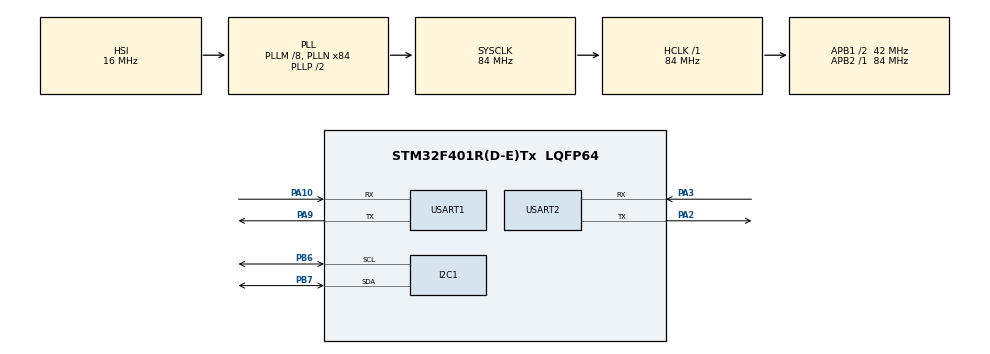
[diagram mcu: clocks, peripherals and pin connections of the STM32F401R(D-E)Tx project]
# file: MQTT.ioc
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Mcu.Family=STM32F4
Mcu.Name=STM32F401R(D-E)Tx
Mcu.Package=LQFP64
NVIC.PriorityGroup=NVIC_PRIORITYGROUP_4
NVIC.USART1_IRQn=true\:0\:0\:false\:false\:true\:true\:true\:true
NVIC.USART2_IRQn=true\:0\:0\:false\:false\:true\:true\:true\:true
PA10.Mode=Asynchronous
PA10.Signal=USART1_RX
PA13.Mode=Serial_Wire
PA13.Signal=SYS_JTMS-SWDIO
PA14.Mode=Serial_Wire
PA14.Signal=SYS_JTCK-SWCLK
PA2.Mode=Asynchronous
PA2.Signal=USART2_TX
PA3.Mode=Asynchronous
PA3.Signal=USART2_RX
PA9.Mode=Asynchronous
PA9.Signal=USART1_TX
PB6.Mode=I2C
PB6.Signal=I2C1_SCL
PB7.Mode=I2C
PB7.Signal=I2C1_SDA
ProjectManager.HeapSize=0x200
ProjectManager.StackSize=0x400
ProjectManager.TargetToolchain=MDK-ARM V5.32
RCC.48MHZClocksFreq_Value=42000000
RCC.AHBFreq_Value=84000000
RCC.APB1CLKDivider=RCC_HCLK_DIV2
RCC.APB1Freq_Value=42000000
RCC.APB1TimFreq_Value=84000000
RCC.APB2Freq_Value=84000000
RCC.APB2TimFreq_Value=84000000
RCC.CortexFreq_Value=84000000
RCC.HCLKFreq_Value=84000000
RCC.HSE_VALUE=8000000
RCC.HSI_VALUE=16000000
RCC.LSE_VALUE=32768
RCC.PLLM=8
RCC.PLLN=84
RCC.SYSCLKFreq_VALUE=84000000
RCC.SYSCLKSource=RCC_SYSCLKSOURCE_PLLCLK
RCC.VCOOutputFreq_Value=168000000
USART1.VirtualMode=VM_ASYNC
USART2.VirtualMode=VM_ASYNC
board=custom

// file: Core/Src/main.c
/* USER CODE BEGIN Header */
/**
  ******************************************************************************
  * @file           : main.c
  * @brief          : Main program body
  ******************************************************************************
  * @attention
  *
  * Copyright (c) 2026 STMicroelectronics.
  * All rights reserved.
  *
  * This software is licensed under terms that can be found in the LICENSE file
  * in the root directory of this software component.
  * If no LICENSE file comes with this software, it is provided AS-IS.
  *
  ******************************************************************************
  */
/* USER CODE END Header */
#include "main.h"

/* USER CODE BEGIN Includes */
#include "bme280.h"
#include "ESPLib.h"
#include <string.h>
#include <stdio.h>
#include <stdint.h>
/* USER CODE END Includes */

/* USER CODE BEGIN PD */

/* 1 = full project (sensor + ESP8266 + MQTT)
 * 0 = BME280 sensor test only (ESP8266 not needed, nothing is sent)      */
#define ENABLE_ESP        1

/* Enter YOUR OWN Wi-Fi details here (2.4 GHz network only).
 * Remove them before sharing this file with anyone.                      */
#define WIFI_SSID         "SNUC"
#define WIFI_PASSWORD     "snu12345"

#define MQTT_BROKER_HOST  "broker.emqx.io"
#define MQTT_BROKER_PORT  "1883"

/* The public broker is shared: keep the client ID unique.
 * Your friend's project uses "STM32_BME280_Device01", so do not reuse it. */
#define MQTT_CLIENT_ID    "STM32_BME280_SNUC_Dev02"
#define MQTT_TOPIC        "snuc/iot/bme280/device01"

#define PUBLISH_PERIOD_MS 5000U

/* USER CODE END PD */

I2C_HandleTypeDef hi2c1;

UART_HandleTypeDef huart1;
UART_HandleTypeDef huart2;

/* USER CODE BEGIN PV */

struct bme280_dev bme280;
struct bme280_data sensor_data;
struct bme280_settings settings;

MQTT_InitTypeDef_t mqttConfig;

char mqttMessage[100];
char mqttTopic[] = MQTT_TOPIC;

uint8_t bme280_address = 0;
int8_t rslt;

char msg[150];

/* ---- I2C read-failure diagnostics (filled by BME280_I2C_Read) ---- */
uint8_t  i2c_diag_valid  = 0;   /* 1 = a HAL read failure was captured   */
uint8_t  i2c_diag_status = 0;   /* HAL_StatusTypeDef returned by HAL     */
uint32_t i2c_diag_error  = 0;   /* HAL_I2C_GetError() bit flags          */
uint8_t  i2c_diag_state  = 0;   /* HAL_I2C_GetState() value              */
uint8_t  i2c_diag_dev    = 0;   /* 7-bit device address used             */
uint8_t  i2c_diag_reg    = 0;   /* register being read                   */
uint16_t i2c_diag_len    = 0;   /* number of bytes requested             */
uint8_t  i2c_diag_busy   = 0;   /* I2C BUSY flag right after failure     */
uint32_t i2c_fail_count  = 0;   /* total failed reads since reset        */

/* USER CODE END PV */

void SystemClock_Config(void);
static void MX_GPIO_Init(void);
static void MX_USART1_UART_Init(void);
static void MX_I2C1_Init(void);
static void MX_USART2_UART_Init(void);
/* USER CODE BEGIN PFP */

static void BME280_Init(void);
static int8_t BME280_ReadData(void);

void Terminal_Print(char *message);

#if ENABLE_ESP
static uint8_t Find_Connack(const char *buf, uint16_t len);
#endif

static BME280_INTF_RET_TYPE BME280_I2C_Read(
		uint8_t reg_addr,
		uint8_t *reg_data,
		uint32_t len,
		void *intf_ptr
);

static BME280_INTF_RET_TYPE BME280_I2C_Write(
		uint8_t reg_addr,
		const uint8_t *reg_data,
		uint32_t len,
		void *intf_ptr
);

static void BME280_Delay(
		uint32_t period,
		void *intf_ptr
);

/* USER CODE END PFP */

/* USER CODE BEGIN 0 */

/* Send text to the PC terminal through USART2 (ST-LINK virtual COM port) */
void Terminal_Print(char *message)
{
	HAL_UART_Transmit(&huart2,
	                  (uint8_t *)message,
	                  strlen(message),
	                  HAL_MAX_DELAY);
}

/* ---- BME280 bus callbacks (blocking HAL I2C) ---- */

static BME280_INTF_RET_TYPE BME280_I2C_Read(
		uint8_t reg_addr,
		uint8_t *reg_data,
		uint32_t len,
		void *intf_ptr)
{
	uint8_t address = *(uint8_t *)intf_ptr;

	HAL_StatusTypeDef st = HAL_I2C_Mem_Read(&hi2c1,
	                                        (uint16_t)(address << 1),
	                                        reg_addr,
	                                        I2C_MEMADD_SIZE_8BIT,
	                                        reg_data,
	                                        (uint16_t)len,
	                                        100);

	if (st == HAL_OK)
	{
		return BME280_INTF_RET_SUCCESS;
	}

	/* Capture the failure details. No UART printing here: this runs inside
	 * the Bosch driver; BME280_ReadData() prints the values afterwards. */
	i2c_diag_valid  = 1;
	i2c_diag_status = (uint8_t)st;
	i2c_diag_error  = HAL_I2C_GetError(&hi2c1);
	i2c_diag_state  = (uint8_t)HAL_I2C_GetState(&hi2c1);
	i2c_diag_dev    = address;
	i2c_diag_reg    = reg_addr;
	i2c_diag_len    = (uint16_t)len;
	i2c_diag_busy   = (__HAL_I2C_GET_FLAG(&hi2c1, I2C_FLAG_BUSY) != RESET) ? 1U : 0U;
	i2c_fail_count++;

	return BME280_E_COMM_FAIL;
}

static BME280_INTF_RET_TYPE BME280_I2C_Write(
		uint8_t reg_addr,
		const uint8_t *reg_data,
		uint32_t len,
		void *intf_ptr)
{
	uint8_t address = *(uint8_t *)intf_ptr;

	if (HAL_I2C_Mem_Write(&hi2c1,
	                      (uint16_t)(address << 1),
	                      reg_addr,
	                      I2C_MEMADD_SIZE_8BIT,
	                      (uint8_t *)reg_data,
	                      (uint16_t)len,
	                      100) == HAL_OK)
	{
		return BME280_INTF_RET_SUCCESS;
	}

	return BME280_E_COMM_FAIL;
}

/* Bosch driver asks for microseconds; HAL_Delay works in milliseconds */
static void BME280_Delay(uint32_t period, void *intf_ptr)
{
	(void)intf_ptr;
	HAL_Delay((period + 999U) / 1000U);
}

/* Print the I2C failure details captured by BME280_I2C_Read() */
static void I2C_PrintDiag(void)
{
	uint32_t e = i2c_diag_error;

	if (!i2c_diag_valid)
	{
		Terminal_Print("  I2C diag: no HAL failure was recorded by the read callback\r\n");
		return;
	}

	snprintf(msg, sizeof(msg),
	         "  I2C diag: HAL status=%u (0=OK 1=ERROR 2=BUSY 3=TIMEOUT), HAL error=0x%02lX, state=0x%02X\r\n",
	         (unsigned)i2c_diag_status,
	         (unsigned long)e,
	         (unsigned)i2c_diag_state);
	Terminal_Print(msg);

	snprintf(msg, sizeof(msg),
	         "  Read: dev=0x%02X reg=0x%02X len=%u, BUSY flag=%u, total I2C read failures=%lu\r\n",
	         (unsigned)i2c_diag_dev,
	         (unsigned)i2c_diag_reg,
	         (unsigned)i2c_diag_len,
	         (unsigned)i2c_diag_busy,
	         (unsigned long)i2c_fail_count);
	Terminal_Print(msg);

	Terminal_Print("  HAL error flags:");
	if (e == HAL_I2C_ERROR_NONE) { Terminal_Print(" NONE"); }
	if (e & HAL_I2C_ERROR_BERR)    { Terminal_Print(" BERR"); }
	if (e & HAL_I2C_ERROR_ARLO)    { Terminal_Print(" ARLO"); }
	if (e & HAL_I2C_ERROR_AF)      { Terminal_Print(" AF(NACK)"); }
	if (e & HAL_I2C_ERROR_OVR)     { Terminal_Print(" OVR"); }
	if (e & HAL_I2C_ERROR_TIMEOUT) { Terminal_Print(" TIMEOUT"); }
	if (e & ~(uint32_t)(HAL_I2C_ERROR_BERR | HAL_I2C_ERROR_ARLO | HAL_I2C_ERROR_AF |
	                    HAL_I2C_ERROR_OVR | HAL_I2C_ERROR_TIMEOUT))
	{
		Terminal_Print(" OTHER");
	}
	Terminal_Print("\r\n");
}

/* ---- BME280 setup ---- */

static void BME280_Init(void)
{
	memset(&bme280, 0, sizeof(bme280));

	bme280.intf_ptr = &bme280_address;
	bme280.intf     = BME280_I2C_INTF;
	bme280.read     = BME280_I2C_Read;
	bme280.write    = BME280_I2C_Write;
	bme280.delay_us = BME280_Delay;

	rslt = bme280_init(&bme280);
	if (rslt != BME280_OK)
	{
		snprintf(msg, sizeof(msg), "BME280 init failed (code %d)\r\n", rslt);
		Terminal_Print(msg);
		Error_Handler();
	}
	Terminal_Print("BME280 initialized successfully!\r\n");

	settings.osr_t        = BME280_OVERSAMPLING_1X;
	settings.osr_p        = BME280_OVERSAMPLING_1X;
	settings.osr_h        = BME280_OVERSAMPLING_1X;
	settings.filter       = BME280_FILTER_COEFF_OFF;
	settings.standby_time = BME280_STANDBY_TIME_1000_MS;

	rslt = bme280_set_sensor_settings(BME280_SEL_OSR_PRESS |
	                                  BME280_SEL_OSR_TEMP  |
	                                  BME280_SEL_OSR_HUM   |
	                                  BME280_SEL_FILTER    |
	                                  BME280_SEL_STANDBY,
	                                  &settings,
	                                  &bme280);
	if (rslt != BME280_OK)
	{
		snprintf(msg, sizeof(msg), "BME280 settings error (code %d)\r\n", rslt);
		Terminal_Print(msg);
		Error_Handler();
	}

	rslt = bme280_set_sensor_mode(BME280_POWERMODE_NORMAL, &bme280);
	if (rslt != BME280_OK)
	{
		snprintf(msg, sizeof(msg), "BME280 mode error (code %d)\r\n", rslt);
		Terminal_Print(msg);
		Error_Handler();
	}

	Terminal_Print("BME280 ready to measure!\r\n");
}

/* Returns 0 on success, non-zero on failure. sensor_data is only
 * trusted by the caller when this returns 0. */
static int8_t BME280_ReadData(void)
{
	int8_t r;

	i2c_diag_valid = 0;   /* forget any older failure */
	r = bme280_get_sensor_data(BME280_ALL, &sensor_data, &bme280);

	if (r == BME280_OK)
	{
		snprintf(msg, sizeof(msg),
		         "\r\n"
		         "-----------------------------\r\n"
		         "Temperature : %.2f C\r\n"
		         "Pressure    : %.2f hPa\r\n"
		         "Humidity    : %.2f %%RH\r\n"
		         "-----------------------------\r\n",
		         sensor_data.temperature,
		         sensor_data.pressure / 100.0,
		         sensor_data.humidity);
		Terminal_Print(msg);
	}
	else
	{
		snprintf(msg, sizeof(msg), "Sensor reading failed (Bosch code %d)\r\n", r);
		Terminal_Print(msg);
		I2C_PrintDiag();
	}

	return r;
}

#if ENABLE_ESP
/* Best-effort search for an MQTT CONNACK packet (20 02 00 00 = accepted).
 * Not seeing it is NOT proof of failure (the library may have consumed
 * the bytes elsewhere), but seeing it IS good evidence the broker accepted us. */
static uint8_t Find_Connack(const char *buf, uint16_t len)
{
	uint16_t i;

	if (len < 4U)
	{
		return 0;
	}

	for (i = 0; i <= (uint16_t)(len - 4U); i++)
	{
		if (((uint8_t)buf[i]     == 0x20U) &&
		    ((uint8_t)buf[i + 1] == 0x02U) &&
		    ((uint8_t)buf[i + 2] == 0x00U) &&
		    ((uint8_t)buf[i + 3] == 0x00U))
		{
			return 1;
		}
	}
	return 0;
}
#endif

/* USER CODE END 0 */

int main(void)
{

  /* MCU Configuration--------------------------------------------------------*/

  /* Reset of all peripherals, Initializes the Flash interface and the Systick. */
  HAL_Init();

  /* Configure the system clock */
  SystemClock_Config();

  /* Initialize all configured peripherals */
  MX_GPIO_Init();
  MX_USART1_UART_Init();
  MX_I2C1_Init();
  MX_USART2_UART_Init();
  /* USER CODE BEGIN 2 */

	Terminal_Print("\r\n==============================\r\n");
	Terminal_Print("   STM32 BME280 MQTT MONITOR\r\n");
	Terminal_Print("==============================\r\n");

	/* ---- Step 1: find the BME280 on I2C (0x76 or 0x77) ---- */
	Terminal_Print("[1] Looking for BME280...\r\n");

	if (HAL_I2C_IsDeviceReady(&hi2c1, (uint16_t)(0x76 << 1), 3, 100) == HAL_OK)
	{
		bme280_address = 0x76;
	}
	else if (HAL_I2C_IsDeviceReady(&hi2c1, (uint16_t)(0x77 << 1), 3, 100) == HAL_OK)
	{
		bme280_address = 0x77;
	}
	else
	{
		Terminal_Print("BME280 NOT DETECTED! Check wiring (SCL=PB6, SDA=PB7, power, GND).\r\n");
		Error_Handler();
	}

	snprintf(msg, sizeof(msg), "BME280 found at address 0x%02X\r\n", bme280_address);
	Terminal_Print(msg);

	/* ---- Step 2: initialise the sensor ---- */
	BME280_Init();
	HAL_Delay(1100);   /* let the first measurement complete */

#if ENABLE_ESP
	/* ---- Step 3: ESP8266. These library calls retry forever if the
	 * module does not answer, so the LAST message you see in the
	 * terminal tells you which step is stuck. ---- */
	Terminal_Print("[2] ESP8266 AT test (stuck here = ESP wiring/power/firmware)...\r\n");
	ESP8266_Init(StationMode, huart1);
	Terminal_Print("    ESP8266 responded to AT.\r\n");

	Terminal_Print("[3] Connecting to Wi-Fi (stuck here = wrong SSID/password or 5 GHz)...\r\n");
	ESP8266_wifiConnect(WIFI_SSID, WIFI_PASSWORD);
	Terminal_Print("    Wi-Fi step finished.\r\n");

	Terminal_Print("[4] Opening TCP connection to broker...\r\n");
	ESP8266_portConnect("TCP", MQTT_BROKER_HOST, MQTT_BROKER_PORT);
	Terminal_Print("    TCP step finished.\r\n");

	/* ---- Step 4: MQTT CONNECT ---- */
	mqttConfig.clientID    = MQTT_CLIENT_ID;
	mqttConfig.username    = NULL;
	mqttConfig.password    = NULL;
	mqttConfig.keepAlive   = 60;
	mqttConfig.connectFlag = CleanSession;

	Terminal_Print("[5] Sending MQTT CONNECT...\r\n");
	MQTT_connectBroker(&mqttConfig);
	HAL_Delay(1000);

	if (Find_Connack(Buffer, BUFFERSIZE) || Find_Connack(mqttBuffer, BUFFERSIZE))
	{
		Terminal_Print("    MQTT CONNACK seen: broker accepted the connection.\r\n");
	}
	else
	{
		Terminal_Print("    CONNACK not seen (not proof of failure). Check MQTTX for data.\r\n");
	}
#else
	Terminal_Print("ENABLE_ESP = 0: sensor-only test, nothing is published.\r\n");
#endif

  /* USER CODE END 2 */

  /* Infinite loop */
  while (1)
  {

    /* USER CODE BEGIN 3 */

	if (BME280_ReadData() == 0)
	{
#if ENABLE_ESP
		snprintf(mqttMessage, sizeof(mqttMessage),
		         "{\"temperature\":%.2f,\"pressure\":%.2f,\"humidity\":%.2f}",
		         sensor_data.temperature,
		         sensor_data.pressure / 100.0,
		         sensor_data.humidity);

		MQTT_publishTopic(mqttTopic, mqttMessage, QoS0);
		Terminal_Print("MQTT publish function called.\r\n");
#endif
	}
	else
	{
		Terminal_Print("Skipping publish: no valid reading.\r\n");
	}

	HAL_Delay(PUBLISH_PERIOD_MS);

  }
  /* USER CODE END 3 */
}

void SystemClock_Config(void)
{
  RCC_OscInitTypeDef RCC_OscInitStruct = {0};
  RCC_ClkInitTypeDef RCC_ClkInitStruct = {0};

  /** Configure the main internal regulator output voltage
  */
  __HAL_RCC_PWR_CLK_ENABLE();
  __HAL_PWR_VOLTAGESCALING_CONFIG(PWR_REGULATOR_VOLTAGE_SCALE2);

  /** Initializes the RCC Oscillators according to the specified parameters
  * in the RCC_OscInitTypeDef structure.
  */
  RCC_OscInitStruct.OscillatorType = RCC_OSCILLATORTYPE_HSI;
  RCC_OscInitStruct.HSIState = RCC_HSI_ON;
  RCC_OscInitStruct.HSICalibrationValue = RCC_HSICALIBRATION_DEFAULT;
  RCC_OscInitStruct.PLL.PLLState = RCC_PLL_ON;
  RCC_OscInitStruct.PLL.PLLSource = RCC_PLLSOURCE_HSI;
  RCC_OscInitStruct.PLL.PLLM = 8;
  RCC_OscInitStruct.PLL.PLLN = 84;
  RCC_OscInitStruct.PLL.PLLP = RCC_PLLP_DIV2;
  RCC_OscInitStruct.PLL.PLLQ = 4;
  if (HAL_RCC_OscConfig(&RCC_OscInitStruct) != HAL_OK)
  {
    Error_Handler();
  }

  /** Initializes the CPU, AHB and APB buses clocks
  */
  RCC_ClkInitStruct.ClockType = RCC_CLOCKTYPE_HCLK|RCC_CLOCKTYPE_SYSCLK
                              |RCC_CLOCKTYPE_PCLK1|RCC_CLOCKTYPE_PCLK2;
  RCC_ClkInitStruct.SYSCLKSource = RCC_SYSCLKSOURCE_PLLCLK;
  RCC_ClkInitStruct.AHBCLKDivider = RCC_SYSCLK_DIV1;
  RCC_ClkInitStruct.APB1CLKDivider = RCC_HCLK_DIV2;
  RCC_ClkInitStruct.APB2CLKDivider = RCC_HCLK_DIV1;

  if (HAL_RCC_ClockConfig(&RCC_ClkInitStruct, FLASH_LATENCY_2) != HAL_OK)
  {
    Error_Handler();
  }
}

static void MX_I2C1_Init(void)
{

  hi2c1.Instance = I2C1;
  hi2c1.Init.ClockSpeed = 100000;
  hi2c1.Init.DutyCycle = I2C_DUTYCYCLE_2;
  hi2c1.Init.OwnAddress1 = 0;
  hi2c1.Init.AddressingMode = I2C_ADDRESSINGMODE_7BIT;
  hi2c1.Init.DualAddressMode = I2C_DUALADDRESS_DISABLE;
  hi2c1.Init.OwnAddress2 = 0;
  hi2c1.Init.GeneralCallMode = I2C_GENERALCALL_DISABLE;
  hi2c1.Init.NoStretchMode = I2C_NOSTRETCH_DISABLE;
  if (HAL_I2C_Init(&hi2c1) != HAL_OK)
  {
    Error_Handler();
  }

}

static void MX_USART1_UART_Init(void)
{

  huart1.Instance = USART1;
  huart1.Init.BaudRate = 115200;
  huart1.Init.WordLength = UART_WORDLENGTH_8B;
  huart1.Init.StopBits = UART_STOPBITS_1;
  huart1.Init.Parity = UART_PARITY_NONE;
  huart1.Init.Mode = UART_MODE_TX_RX;
  huart1.Init.HwFlowCtl = UART_HWCONTROL_NONE;
  huart1.Init.OverSampling = UART_OVERSAMPLING_16;
  if (HAL_UART_Init(&huart1) != HAL_OK)
  {
    Error_Handler();
  }

}

static void MX_USART2_UART_Init(void)
{

  huart2.Instance = USART2;
  huart2.Init.BaudRate = 115200;
  huart2.Init.WordLength = UART_WORDLENGTH_8B;
  huart2.Init.StopBits = UART_STOPBITS_1;
  huart2.Init.Parity = UART_PARITY_NONE;
  huart2.Init.Mode = UART_MODE_TX_RX;
  huart2.Init.HwFlowCtl = UART_HWCONTROL_NONE;
  huart2.Init.OverSampling = UART_OVERSAMPLING_16;
  if (HAL_UART_Init(&huart2) != HAL_OK)
  {
    Error_Handler();
  }

}

static void MX_GPIO_Init(void)
{

  /* GPIO Ports Clock Enable */
  __HAL_RCC_GPIOA_CLK_ENABLE();
  __HAL_RCC_GPIOB_CLK_ENABLE();

}

void Error_Handler(void)
{
  __disable_irq();
  while (1)
  {
  }
}
